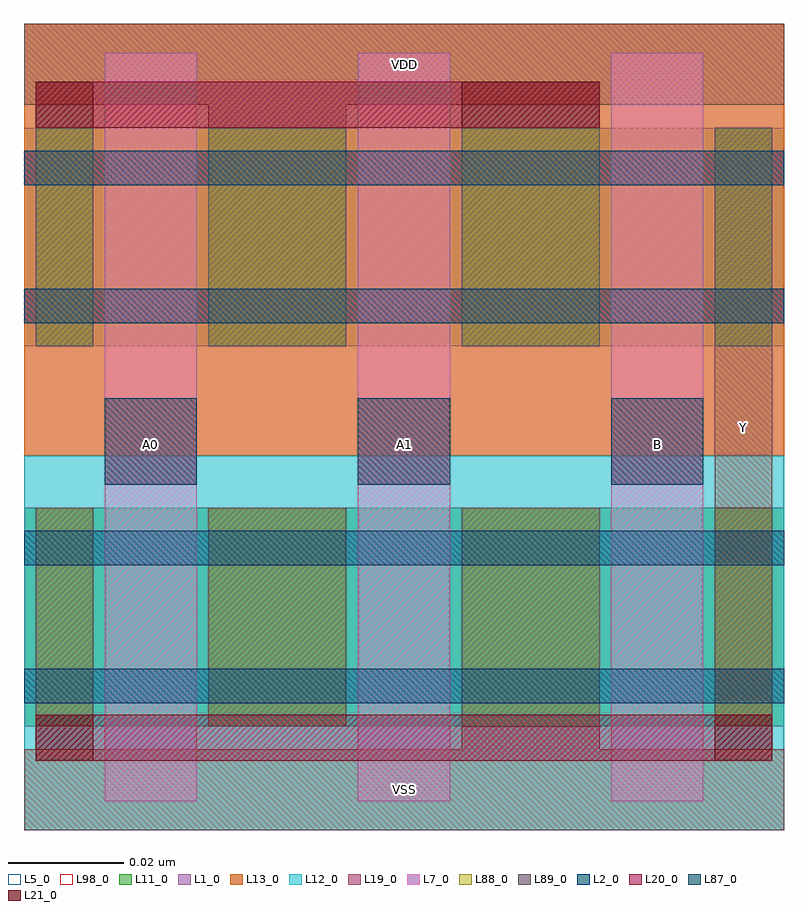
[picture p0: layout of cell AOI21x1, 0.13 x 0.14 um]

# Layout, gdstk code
import gdstk
lib = gdstk.Library(unit=1e-6, precision=1e-12)
def R(c, l, rs):  # rectangles x0, y0, x1, y1
    for r in rs: c.add(gdstk.rectangle(r[:2], r[2:], *l))
def A(c, l, x, y, w, h, nx, ny, dx, dy):  # array of equal rectangles
    R(c, l, [(x+i*dx, y+j*dy, x+i*dx+w, y+j*dy+h) for i in range(nx) for j in range(ny)])
L1_0 = (1, 0)
L2_0 = (2, 0)
L5_0 = (5, 0)
L7_0 = (7, 0)
L11_0 = (11, 0)
L12_0 = (12, 0)
L13_0 = (13, 0)
L19_0 = (19, 0)
L20_0 = (20, 0)
L21_0 = (21, 0)
L87_0 = (87, 0)
L88_0 = (88, 0)
L89_0 = (89, 0)
L98_0 = (98, 0)

aoi21x1 = lib.new_cell('AOI21x1')
R(aoi21x1, L1_0, [(0,0.065,0.132,0.14)])
R(aoi21x1, L2_0, [(0,0.022,0.132,0.028), (0,0.046,0.132,0.052), (0,0.088,0.132,0.094), (0,0.112,0.132,0.118)])
R(aoi21x1, L5_0, [(0,0,0.132,0.14)])
A(aoi21x1, L7_0, 0.014, 0.005, 0.016, 0.13, 3, 1, 0.044, 0)
R(aoi21x1, L11_0, [(0,0.018,0.132,0.056), (0,0.084,0.132,0.122)])
R(aoi21x1, L12_0, [(0,0,0.132,0.065)])
R(aoi21x1, L13_0, [(0,0.065,0.132,0.14)])
A(aoi21x1, L19_0, 0.014, 0.06, 0.016, 0.015, 3, 1, 0.044, 0)
R(aoi21x1, L19_0, [(0,0,0.132,0.014), (0.076,0,0.1,0.018), (0.12,0.018,0.13,0.122), (0.032,0.122,0.056,0.14), (0,0.126,0.132,0.14)])
R(aoi21x1, L20_0, [(0.002,0.012,0.13,0.02), (0.002,0.122,0.1,0.13)])
R(aoi21x1, L21_0, [(0.002,0.012,0.012,0.02), (0.12,0.012,0.13,0.02), (0.002,0.122,0.012,0.13), (0.076,0.122,0.1,0.13)])
A(aoi21x1, L87_0, 0.014, 0.06, 0.016, 0.015, 3, 1, 0.044, 0)
R(aoi21x1, L88_0, [(0.002,0.018,0.012,0.056), (0.032,0.018,0.056,0.056), (0.076,0.018,0.1,0.056), (0.12,0.018,0.13,0.056), (0.002,0.084,0.012,0.122), (0.032,0.084,0.056,0.122), (0.076,0.084,0.1,0.122), (0.12,0.084,0.13,0.122)])
R(aoi21x1, L89_0, [(0.002,0.018,0.012,0.056), (0.032,0.018,0.056,0.056), (0.076,0.018,0.1,0.056), (0.12,0.018,0.13,0.056), (0.002,0.084,0.012,0.122), (0.032,0.084,0.056,0.122), (0.076,0.084,0.1,0.122), (0.12,0.084,0.13,0.122)])
R(aoi21x1, L98_0, [(0,0,0.132,0.14)])
aoi21x1.add(gdstk.Label('A0', (0.022,0.067), layer=101, texttype=0))
aoi21x1.add(gdstk.Label('A1', (0.066,0.067), layer=101, texttype=0))
aoi21x1.add(gdstk.Label('B', (0.11,0.067), layer=101, texttype=0))
aoi21x1.add(gdstk.Label('Y', (0.125,0.07), layer=101, texttype=0))
aoi21x1.add(gdstk.Label('VDD', (0.066,0.133), layer=101, texttype=0))
aoi21x1.add(gdstk.Label('VSS', (0.066,0.007), layer=101, texttype=0))

lib.write_gds('AOI21x1.gds')
